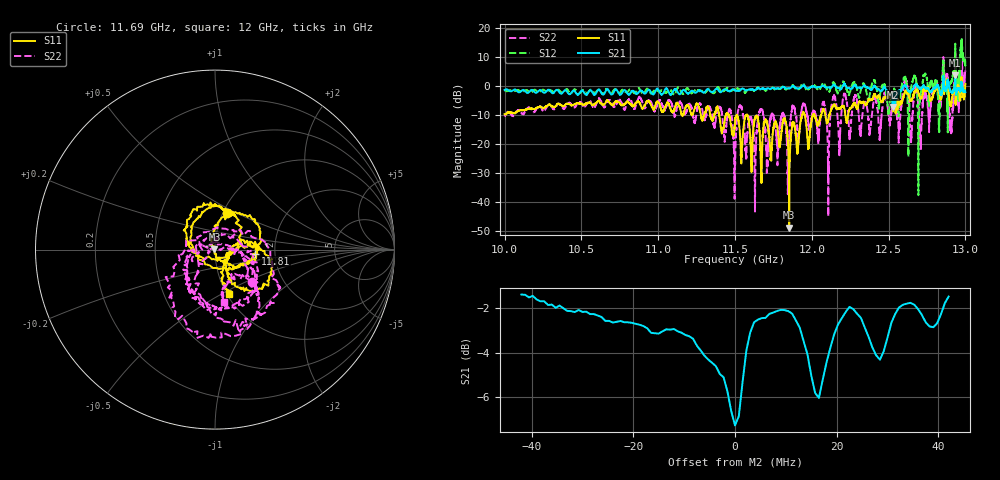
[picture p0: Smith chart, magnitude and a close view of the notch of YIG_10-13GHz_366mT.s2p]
#  HZ  S  RI  R  50.0
! Rohde & Schwarz ZVL13 2Ports - Version 3.31 - 1303.6509k13 SN: 101088
! Date: 2023-03-06 16:00:13
! Data & Calibration Information:
! Trc4:S11(TOSM) Trc2:S21(TOSM) Trc3:S12(TOSM) Trc5:S22(TOSM)
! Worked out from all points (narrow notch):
!   4000 points, 10 GHz to 13 GHz, reference 50 ohm
!   highest |S21| = 3.67 dB at 12.93 GHz (marker M1); lowest = -7.3 dB at 12.53 GHz (marker M2)
!   notch at M2: 5.8 dB deep, 7.1 MHz wide at half that depth
!   lowest |S11| = -48.9 dB at 11.85 GHz (marker M3), VSWR 1.01, Z = 49.7 + j0.204 ohm
!   |S11| at or under -10 dB: 11.46 GHz to 11.57 GHz (113 MHz wide, 0.981 % of centre); 11.58 GHz to 11.94 GHz (356 MHz wide, 3.03 % of centre); 11.9547 GHz to 12.00782 GHz (53.13 MHz wide, 0.443 % of centre)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
!   |S22| runs from -45.0 to 12.1 dB; largest |S21 - S12| = 5.3
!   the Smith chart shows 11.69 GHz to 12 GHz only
!   S11 on the Smith chart (normalised r, x): 11.69 GHz: 1.05, +0.45; 11.81 GHz: 1.58, -0.07; 12 GHz: 1.03, -0.55
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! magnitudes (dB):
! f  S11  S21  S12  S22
! 10 GHz  -9.8  -1.4  -1.5  -10.5
! 10.5 GHz  -6.3  -1.6  -1.8  -5.7
! 11 GHz  -5.7  -1.2  -1.8  -5.6
! 11.47 GHz  -10.9  -1.8  -1.4  -8.3
! 11.5 GHz  -11.6  -1.5  -1.5  -27.3
! 11.53 GHz  -16.9  -1.6  -1.3  -6.6
! 11.63 GHz  -11.4  -1.5  -1.6  -32.5
! 11.69 GHz  -13.4  -0.9  -1.2  -11.2
! 11.81 GHz  -12.9  -0.4  -0.3  -10.0
! 11.85 GHz  -48.9  -0.8  -0.9  -17.5
! 11.88 GHz  -12.8  0.0  0.1  -7.0
! 12 GHz  -11.6  -0.3  0.0  -10.6
! 12.5 GHz  -3.2  -2.4  -10.0  -10.1
! 12.53 GHz  -5.9  -7.3  -4.5  -6.6
! 12.61 GHz  -2.0  0.0  2.1  2.2
! 12.64 GHz  -5.0  -1.9  -0.8  -18.9
! 12.68 GHz  -1.6  0.4  2.5  -0.2
! 12.71 GHz  -4.4  -1.0  -2.7  -18.8
! 12.87 GHz  -0.2  -0.9  1.4  3.3
! 12.91 GHz  -6.2  -2.1  1.1  -16.4
! 12.93 GHz  -0.6  3.7  14.6  12.1
! 13 GHz  0.7  -2.2  8.5  5.3
